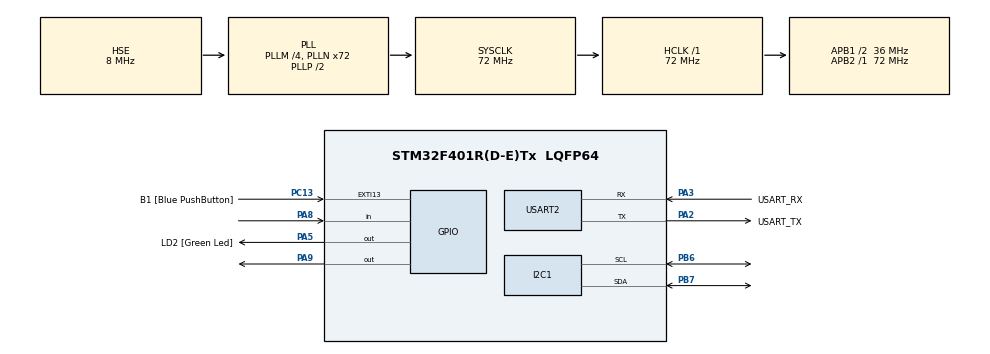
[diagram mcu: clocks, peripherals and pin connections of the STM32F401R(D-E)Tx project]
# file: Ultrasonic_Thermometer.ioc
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Mcu.Family=STM32F4
Mcu.Name=STM32F401R(D-E)Tx
Mcu.Package=LQFP64
NVIC.PriorityGroup=NVIC_PRIORITYGROUP_0
PA13.GPIO_Label=TMS
PA13.Mode=Serial_Wire
PA13.Signal=SYS_JTMS-SWDIO
PA14.GPIO_Label=TCK
PA14.Mode=Serial_Wire
PA14.Signal=SYS_JTCK-SWCLK
PA2.GPIO_Label=USART_TX
PA2.GPIO_Mode=GPIO_MODE_AF_PP
PA2.GPIO_PuPd=GPIO_NOPULL
PA2.GPIO_Speed=GPIO_SPEED_FREQ_LOW
PA2.Mode=Asynchronous
PA2.Signal=USART2_TX
PA3.GPIO_Label=USART_RX
PA3.GPIO_Mode=GPIO_MODE_AF_PP
PA3.GPIO_PuPd=GPIO_NOPULL
PA3.GPIO_Speed=GPIO_SPEED_FREQ_LOW
PA3.Mode=Asynchronous
PA3.Signal=USART2_RX
PA5.GPIO_Label=LD2 [Green Led]
PA5.GPIO_Mode=GPIO_MODE_OUTPUT_PP
PA5.GPIO_PuPd=GPIO_NOPULL
PA5.GPIO_Speed=GPIO_SPEED_FREQ_LOW
PA5.Signal=GPIO_Output
PA8.Signal=GPIO_Input
PA9.Signal=GPIO_Output
PB3.GPIO_Label=SWO
PB3.Signal=SYS_JTDO-SWO
PB6.Mode=I2C
PB6.Signal=I2C1_SCL
PB7.Mode=I2C
PB7.Signal=I2C1_SDA
PC13-ANTI_TAMP.GPIO_Label=B1 [Blue PushButton]
PC13-ANTI_TAMP.GPIO_ModeDefaultEXTI=GPIO_MODE_IT_FALLING
PC13-ANTI_TAMP.GPIO_PuPd=GPIO_NOPULL
PC13-ANTI_TAMP.Signal=GPXTI13
PC14-OSC32_IN.Signal=RCC_OSC32_IN
PC15-OSC32_OUT.Signal=RCC_OSC32_OUT
PH0\ -\ OSC_IN.Mode=HSE-External-Oscillator
PH0\ -\ OSC_IN.Signal=RCC_OSC_IN
PH1\ -\ OSC_OUT.Mode=HSE-External-Oscillator
PH1\ -\ OSC_OUT.Signal=RCC_OSC_OUT
ProjectManager.HeapSize=0x200
ProjectManager.StackSize=0x400
ProjectManager.TargetToolchain=STM32CubeIDE
RCC.48MHZClocksFreq_Value=20571428.57142857
RCC.AHBFreq_Value=72000000
RCC.APB1CLKDivider=RCC_HCLK_DIV2
RCC.APB1Freq_Value=36000000
RCC.APB1TimFreq_Value=72000000
RCC.APB2Freq_Value=72000000
RCC.APB2TimFreq_Value=72000000
RCC.CortexFreq_Value=72000000
RCC.HCLKFreq_Value=72000000
RCC.HSE_VALUE=8000000
RCC.HSI_VALUE=16000000
RCC.LSE_VALUE=32768
RCC.PLLM=8
RCC.PLLN=72
RCC.PLLQ=7
RCC.SYSCLKFreq_VALUE=72000000
RCC.SYSCLKSource=RCC_SYSCLKSOURCE_PLLCLK
RCC.VCOOutputFreq_Value=144000000
TIM1.Prescaler=72-1
USART2.VirtualMode=VM_ASYNC
VP_TIM1_VS_ClockSourceINT.Mode=Internal
board=NUCLEO-F401RE

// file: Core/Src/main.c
/* USER CODE BEGIN Header */
/**
  ******************************************************************************
  * @file           : main.c
  * @brief          : Main program body
  ******************************************************************************
  * @attention
  *
  * Copyright (c) 2022 STMicroelectronics.
  * All rights reserved.
  *
  * This software is licensed under terms that can be found in the LICENSE file
  * in the root directory of this software component.
  * If no LICENSE file comes with this software, it is provided AS-IS.
  *
  ******************************************************************************
  */
/* USER CODE END Header */
#include "main.h"

/* USER CODE BEGIN Includes */

#include "i2c-lcd.h"

/* USER CODE END Includes */

I2C_HandleTypeDef hi2c1;

TIM_HandleTypeDef htim1;

UART_HandleTypeDef huart2;

void SystemClock_Config(void);
static void MX_GPIO_Init(void);
static void MX_USART2_UART_Init(void);
static void MX_I2C1_Init(void);
static void MX_TIM1_Init(void);

/* USER CODE BEGIN 0 */
void delay (uint16_t time) {
	__HAL_TIM_SET_COUNTER(&htim1, 0);
	while(__HAL_TIM_GET_COUNTER (&htim1) < time);
}

#define TRIG_PIN GPIO_PIN_9
#define TRIG_PORT GPIOA
#define ECHO_PIN GPIO_PIN_8
#define ECHO_PORT GPIOA
uint32_t pMillis;
uint32_t Value1 = 0;
uint32_t Value2 = 0;
uint16_t Distance  = 0;  // cm
uint16_t Time = 0; // s
uint16_t SoundSpeed = 0; // m/s
uint16_t Humidity = 40;
uint16_t Temperature = 0; // degrees Celsius

// Let's write the callback function

/* USER CODE END 0 */

int main(void)
{

  /* MCU Configuration--------------------------------------------------------*/

  /* Reset of all peripherals, Initializes the Flash interface and the Systick. */
  HAL_Init();

  /* Configure the system clock */
  SystemClock_Config();

  /* Initialize all configured peripherals */
  MX_GPIO_Init();
  MX_USART2_UART_Init();
  MX_I2C1_Init();
  MX_TIM1_Init();
  /* USER CODE BEGIN 2 */

  HAL_TIM_Base_Start(&htim1);
  HAL_GPIO_WritePin(TRIG_PORT, TRIG_PIN, GPIO_PIN_RESET);  // pull the TRIG pin low
  lcd_init();

      HAL_GPIO_WritePin(TRIG_PORT, TRIG_PIN, GPIO_PIN_SET);  // pull the TRIG pin HIGH
    __HAL_TIM_SET_COUNTER(&htim1, 0);
    while (__HAL_TIM_GET_COUNTER (&htim1) < 10);  // wait for 10 us
    HAL_GPIO_WritePin(TRIG_PORT, TRIG_PIN, GPIO_PIN_RESET);  // pull the TRIG pin low

    pMillis = HAL_GetTick(); // used this to avoid infinite while loop  (for timeout)
    // wait for the echo pin to go high
    while (!(HAL_GPIO_ReadPin (ECHO_PORT, ECHO_PIN)) && pMillis + 10 >  HAL_GetTick());
    Value1 = __HAL_TIM_GET_COUNTER (&htim1);

    pMillis = HAL_GetTick(); // used this to avoid infinite while loop (for timeout)
    // wait for the echo pin to go low
    while ((HAL_GPIO_ReadPin (ECHO_PORT, ECHO_PIN)) && pMillis + 50 > HAL_GetTick());
    Value2 = __HAL_TIM_GET_COUNTER (&htim1);

    Distance = ((Value2-Value1)* 0.034/2)/100;
    Time = HAL_GetTick() * 1000;
    SoundSpeed = Distance * Time;

    Temperature = SoundSpeed - 331.4 + (0.0124 * Humidity);
    lcd_send_string("Temp: ");
    lcd_send_data(Temperature);
    lcd_send_string("Degrees Celsius");
  /* USER CODE END 2 */

  /* Infinite loop */
  while (1)
  {

  }
}

void SystemClock_Config(void)
{
  RCC_OscInitTypeDef RCC_OscInitStruct = {0};
  RCC_ClkInitTypeDef RCC_ClkInitStruct = {0};

  /** Configure the main internal regulator output voltage
  */
  __HAL_RCC_PWR_CLK_ENABLE();
  __HAL_PWR_VOLTAGESCALING_CONFIG(PWR_REGULATOR_VOLTAGE_SCALE2);

  /** Initializes the RCC Oscillators according to the specified parameters
  * in the RCC_OscInitTypeDef structure.
  */
  RCC_OscInitStruct.OscillatorType = RCC_OSCILLATORTYPE_HSE;
  RCC_OscInitStruct.HSEState = RCC_HSE_ON;
  RCC_OscInitStruct.PLL.PLLState = RCC_PLL_ON;
  RCC_OscInitStruct.PLL.PLLSource = RCC_PLLSOURCE_HSE;
  RCC_OscInitStruct.PLL.PLLM = 4;
  RCC_OscInitStruct.PLL.PLLN = 72;
  RCC_OscInitStruct.PLL.PLLP = RCC_PLLP_DIV2;
  RCC_OscInitStruct.PLL.PLLQ = 7;
  if (HAL_RCC_OscConfig(&RCC_OscInitStruct) != HAL_OK)
  {
    Error_Handler();
  }

  /** Initializes the CPU, AHB and APB buses clocks
  */
  RCC_ClkInitStruct.ClockType = RCC_CLOCKTYPE_HCLK|RCC_CLOCKTYPE_SYSCLK
                              |RCC_CLOCKTYPE_PCLK1|RCC_CLOCKTYPE_PCLK2;
  RCC_ClkInitStruct.SYSCLKSource = RCC_SYSCLKSOURCE_PLLCLK;
  RCC_ClkInitStruct.AHBCLKDivider = RCC_SYSCLK_DIV1;
  RCC_ClkInitStruct.APB1CLKDivider = RCC_HCLK_DIV2;
  RCC_ClkInitStruct.APB2CLKDivider = RCC_HCLK_DIV1;

  if (HAL_RCC_ClockConfig(&RCC_ClkInitStruct, FLASH_LATENCY_2) != HAL_OK)
  {
    Error_Handler();
  }
}

static void MX_I2C1_Init(void)
{

  hi2c1.Instance = I2C1;
  hi2c1.Init.ClockSpeed = 100000;
  hi2c1.Init.DutyCycle = I2C_DUTYCYCLE_2;
  hi2c1.Init.OwnAddress1 = 0;
  hi2c1.Init.AddressingMode = I2C_ADDRESSINGMODE_7BIT;
  hi2c1.Init.DualAddressMode = I2C_DUALADDRESS_DISABLE;
  hi2c1.Init.OwnAddress2 = 0;
  hi2c1.Init.GeneralCallMode = I2C_GENERALCALL_DISABLE;
  hi2c1.Init.NoStretchMode = I2C_NOSTRETCH_DISABLE;
  if (HAL_I2C_Init(&hi2c1) != HAL_OK)
  {
    Error_Handler();
  }

}

static void MX_TIM1_Init(void)
{

  TIM_ClockConfigTypeDef sClockSourceConfig = {0};
  TIM_MasterConfigTypeDef sMasterConfig = {0};

  htim1.Instance = TIM1;
  htim1.Init.Prescaler = 71;
  htim1.Init.CounterMode = TIM_COUNTERMODE_UP;
  htim1.Init.Period = 65535;
  htim1.Init.ClockDivision = TIM_CLOCKDIVISION_DIV1;
  htim1.Init.RepetitionCounter = 0;
  htim1.Init.AutoReloadPreload = TIM_AUTORELOAD_PRELOAD_DISABLE;
  if (HAL_TIM_Base_Init(&htim1) != HAL_OK)
  {
    Error_Handler();
  }
  sClockSourceConfig.ClockSource = TIM_CLOCKSOURCE_INTERNAL;
  if (HAL_TIM_ConfigClockSource(&htim1, &sClockSourceConfig) != HAL_OK)
  {
    Error_Handler();
  }
  sMasterConfig.MasterOutputTrigger = TIM_TRGO_RESET;
  sMasterConfig.MasterSlaveMode = TIM_MASTERSLAVEMODE_DISABLE;
  if (HAL_TIMEx_MasterConfigSynchronization(&htim1, &sMasterConfig) != HAL_OK)
  {
    Error_Handler();
  }

}

static void MX_USART2_UART_Init(void)
{

  huart2.Instance = USART2;
  huart2.Init.BaudRate = 115200;
  huart2.Init.WordLength = UART_WORDLENGTH_8B;
  huart2.Init.StopBits = UART_STOPBITS_1;
  huart2.Init.Parity = UART_PARITY_NONE;
  huart2.Init.Mode = UART_MODE_TX_RX;
  huart2.Init.HwFlowCtl = UART_HWCONTROL_NONE;
  huart2.Init.OverSampling = UART_OVERSAMPLING_16;
  if (HAL_UART_Init(&huart2) != HAL_OK)
  {
    Error_Handler();
  }

}

static void MX_GPIO_Init(void)
{
  GPIO_InitTypeDef GPIO_InitStruct = {0};

  /* GPIO Ports Clock Enable */
  __HAL_RCC_GPIOC_CLK_ENABLE();
  __HAL_RCC_GPIOH_CLK_ENABLE();
  __HAL_RCC_GPIOA_CLK_ENABLE();
  __HAL_RCC_GPIOB_CLK_ENABLE();

  /*Configure GPIO pin Output Level */
  HAL_GPIO_WritePin(GPIOA, LD2_Pin|GPIO_PIN_9, GPIO_PIN_RESET);

  /*Configure GPIO pin : B1_Pin */
  GPIO_InitStruct.Pin = B1_Pin;
  GPIO_InitStruct.Mode = GPIO_MODE_IT_FALLING;
  GPIO_InitStruct.Pull = GPIO_NOPULL;
  HAL_GPIO_Init(B1_GPIO_Port, &GPIO_InitStruct);

  /*Configure GPIO pins : LD2_Pin PA9 */
  GPIO_InitStruct.Pin = LD2_Pin|GPIO_PIN_9;
  GPIO_InitStruct.Mode = GPIO_MODE_OUTPUT_PP;
  GPIO_InitStruct.Pull = GPIO_NOPULL;
  GPIO_InitStruct.Speed = GPIO_SPEED_FREQ_LOW;
  HAL_GPIO_Init(GPIOA, &GPIO_InitStruct);

  /*Configure GPIO pin : PA8 */
  GPIO_InitStruct.Pin = GPIO_PIN_8;
  GPIO_InitStruct.Mode = GPIO_MODE_INPUT;
  GPIO_InitStruct.Pull = GPIO_NOPULL;
  HAL_GPIO_Init(GPIOA, &GPIO_InitStruct);

}

void Error_Handler(void)
{
  __disable_irq();
  while (1)
  {
  }
}
